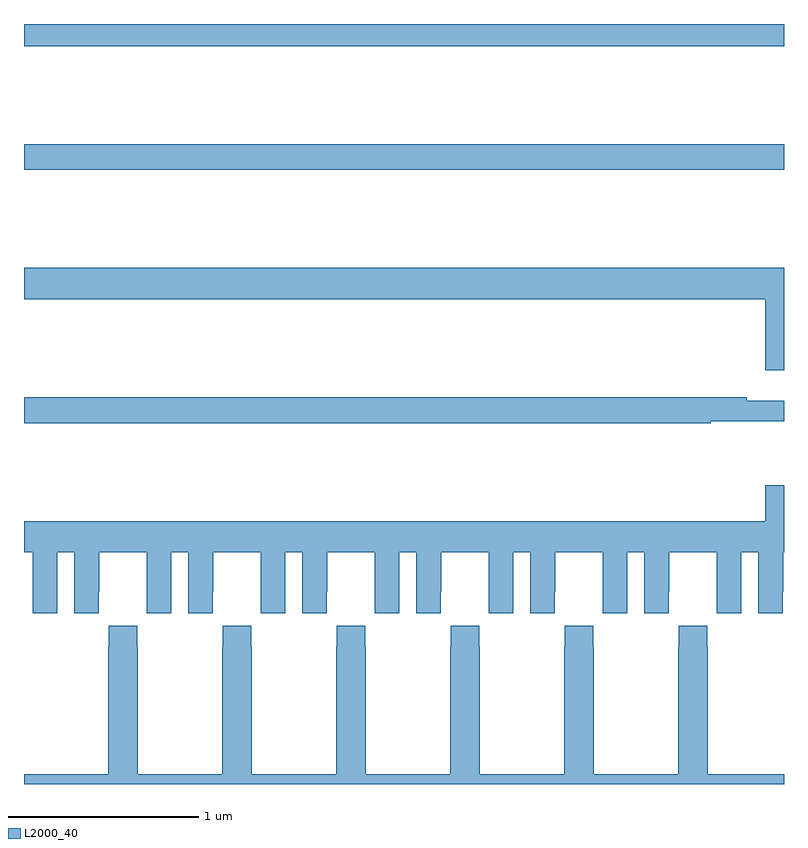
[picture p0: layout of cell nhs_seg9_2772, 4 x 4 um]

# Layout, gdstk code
import gdstk
lib = gdstk.Library(unit=1e-6, precision=1e-09)
def R(c, l, rs):  # rectangles x0, y0, x1, y1
    for r in rs: c.add(gdstk.rectangle(r[:2], r[2:], *l))
def P(c, l, *ps):  # polygons
    for p in ps: c.add(gdstk.Polygon(p, *l))
L2000_40 = (2000, 40)

nhs_seg9_2772 = lib.new_cell('nhs_seg9_2772')
R(nhs_seg9_2772, L2000_40, [(269,1231.732,273,1231.868), (269,1232.384,273,1232.5)])
P(nhs_seg9_2772, L2000_40, [(273,1231.216),(269,1231.216),(269,1231.052),(272.9,1231.052),(272.9,1230.678),(273,1230.678)],
  [(272.614,1230.408),(273,1230.408),(273,1230.517),(272.804,1230.517),(272.804,1230.536),(269,1230.536),(269,1230.4),(272.614,1230.4)],
  [(269,1229.72),(269.045,1229.72),(269.045,1229.512),(269.046,1229.512),(269.046,1229.4),(269.176,1229.4),(269.176,1229.72),(269.264,1229.72),(269.264,1229.4),(269.394,1229.4),(269.394,1229.512),(269.395,1229.512),(269.395,1229.72),(269.645,1229.72),(269.645,1229.512),(269.646,1229.512),(269.646,1229.4),(269.776,1229.4),(269.776,1229.72),(269.864,1229.72),(269.864,1229.4),(269.994,1229.4),(269.994,1229.512),(269.995,1229.512),(269.995,1229.72),(270.245,1229.72),(270.245,1229.512),(270.246,1229.512),(270.246,1229.4),(270.376,1229.4),(270.376,1229.72),(270.464,1229.72),(270.464,1229.4),(270.594,1229.4),(270.594,1229.512),(270.595,1229.512),(270.595,1229.72),(270.845,1229.72),(270.845,1229.512),(270.846,1229.512),(270.846,1229.4),(270.976,1229.4),(270.976,1229.72),(271.064,1229.72),(271.064,1229.4),(271.194,1229.4),(271.194,1229.512),(271.195,1229.512),(271.195,1229.72),(271.445,1229.72),(271.445,1229.512),(271.446,1229.512),(271.446,1229.4),(271.576,1229.4),(271.576,1229.72),(271.664,1229.72),(271.664,1229.4),(271.794,1229.4),(271.794,1229.512),(271.795,1229.512),(271.795,1229.72),(272.045,1229.72),(272.045,1229.512),(272.046,1229.512),(272.046,1229.4),(272.176,1229.4),(272.176,1229.72),(272.264,1229.72),(272.264,1229.4),(272.394,1229.4),(272.394,1229.512),(272.395,1229.512),(272.395,1229.72),(272.645,1229.72),(272.645,1229.512),(272.646,1229.512),(272.646,1229.4),(272.776,1229.4),(272.776,1229.72),(272.864,1229.72),(272.864,1229.4),(272.994,1229.4),(272.994,1229.512),(272.995,1229.512),(272.995,1229.72),(273,1229.72),(273,1230.073),(272.9,1230.073),(272.9,1229.884),(269,1229.884)],
  [(270.798,1229.219),(270.795,1229.219),(270.795,1229.332),(270.645,1229.332),(270.645,1229.219),(270.643,1229.219),(270.643,1228.552),(270.198,1228.552),(270.198,1229.219),(270.195,1229.219),(270.195,1229.332),(270.045,1229.332),(270.045,1229.219),(270.043,1229.219),(270.043,1228.552),(269.598,1228.552),(269.598,1229.219),(269.595,1229.219),(269.595,1229.332),(269.445,1229.332),(269.445,1229.219),(269.443,1229.219),(269.443,1228.552),(269,1228.552),(269,1228.5),(273,1228.5),(273,1228.552),(272.598,1228.552),(272.598,1229.219),(272.595,1229.219),(272.595,1229.332),(272.445,1229.332),(272.445,1229.219),(272.443,1229.219),(272.443,1228.552),(271.998,1228.552),(271.998,1229.219),(271.995,1229.219),(271.995,1229.332),(271.845,1229.332),(271.845,1229.219),(271.843,1229.219),(271.843,1228.552),(271.398,1228.552),(271.398,1229.219),(271.395,1229.219),(271.395,1229.332),(271.245,1229.332),(271.245,1229.219),(271.243,1229.219),(271.243,1228.552),(270.798,1228.552)])

lib.write_gds('nhs_seg9_2772.gds')
